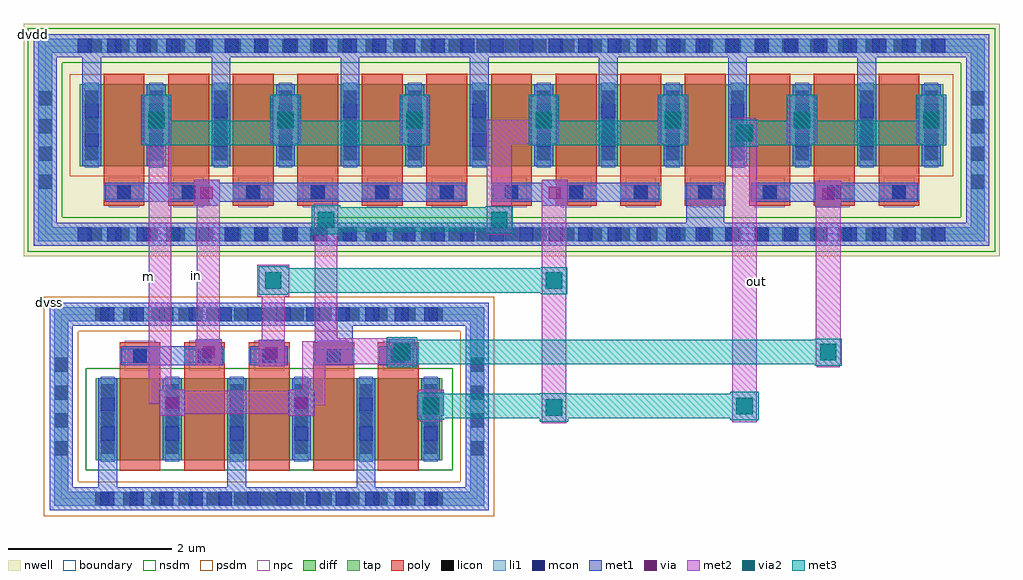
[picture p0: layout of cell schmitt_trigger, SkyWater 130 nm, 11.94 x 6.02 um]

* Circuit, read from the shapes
.subckt schmitt_trigger dvdd dvss in m out
XM1 m in dvss dvss sky130_fd_pr__nfet_01v8 w=1 l=0.5 m=2
XM2 m out dvss dvss sky130_fd_pr__nfet_01v8 w=1 l=0.5
XM3 dvss dvss m dvss sky130_fd_pr__nfet_01v8 w=1 l=0.5
XM4 out m dvss dvss sky130_fd_pr__nfet_01v8 w=1 l=0.5
XM5 m in dvdd dvdd sky130_fd_pr__pfet_01v8 w=1 l=0.5 m=6
XM6 m out dvdd dvdd sky130_fd_pr__pfet_01v8 w=1 l=0.5 m=3
XM7 dvdd dvdd m dvdd sky130_fd_pr__pfet_01v8 w=1 l=0.5
XM8 out m dvdd dvdd sky130_fd_pr__pfet_01v8 w=1 l=0.5 m=3
.ends

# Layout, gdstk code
import gdstk
lib = gdstk.Library(unit=1e-6, precision=1e-09)
def R(c, l, rs):  # rectangles x0, y0, x1, y1
    for r in rs: c.add(gdstk.rectangle(r[:2], r[2:], *l))
def A(c, l, x, y, w, h, nx, ny, dx, dy):  # array of equal rectangles
    R(c, l, [(x+i*dx, y+j*dy, x+i*dx+w, y+j*dy+h) for i in range(nx) for j in range(ny)])
nwell = (64, 20)
diff = (65, 20)
tap = (65, 44)
poly = (66, 20)
licon = (66, 44)
li1 = (67, 20)
mcon = (67, 44)
met1 = (68, 20)
via = (68, 44)
met2 = (69, 20)
via2 = (69, 44)
met3 = (70, 20)
nsdm = (93, 44)
psdm = (94, 20)
npc = (95, 20)
boundary = (235, 4)

sky130_fd_pr__pfet_01v8_ = lib.new_cell('sky130_fd_pr__pfet_01v8_BZXTE7')
R(sky130_fd_pr__pfet_01v8_, nwell, [(-5.97,-1.42,5.97,1.42)])
R(sky130_fd_pr__pfet_01v8_, diff, [(-5.28,-0.32,5.28,0.68)])
R(sky130_fd_pr__pfet_01v8_, tap, [(-5.79,-1.24,5.79,-1.07), (-5.79,-1.07,-5.62,1.07), (5.62,-1.07,5.79,1.07), (-5.79,1.07,5.79,1.24)])
A(sky130_fd_pr__pfet_01v8_, poly, -4.99, -0.805, 0.5, 1.615, 13, 1, 0.79, 0)
A(sky130_fd_pr__pfet_01v8_, licon, -5.185, -1.24, 0.17, 0.17, 31, 2, 0.34, 2.31)
A(sky130_fd_pr__pfet_01v8_, licon, -4.825, -0.725, 0.17, 0.17, 13, 1, 0.79, 0)
A(sky130_fd_pr__pfet_01v8_, licon, -5.79, -0.595, 0.17, 0.17, 1, 4, 0, 0.34)
A(sky130_fd_pr__pfet_01v8_, licon, 5.62, -0.595, 0.17, 0.17, 1, 4, 0, 0.34)
A(sky130_fd_pr__pfet_01v8_, licon, -5.22, -0.245, 0.17, 0.17, 14, 3, 0.79, 0.34)
A(sky130_fd_pr__pfet_01v8_, li1, -4.99, -0.725, 0.5, 0.17, 13, 1, 0.79, 0)
A(sky130_fd_pr__pfet_01v8_, li1, -5.22, -0.34, 0.17, 1.04, 14, 1, 0.79, 0)
R(sky130_fd_pr__pfet_01v8_, li1, [(-5.79,-1.24,5.79,-1.07), (-5.79,-1.07,-5.62,1.07), (5.62,-1.07,5.79,1.07), (-5.79,1.07,5.79,1.24)])
A(sky130_fd_pr__pfet_01v8_, mcon, -4.825, -0.725, 0.17, 0.17, 13, 1, 0.79, 0)
A(sky130_fd_pr__pfet_01v8_, mcon, -5.22, -0.085, 0.17, 0.17, 14, 2, 0.79, 0.36)
A(sky130_fd_pr__pfet_01v8_, met1, -4.97, -0.755, 0.46, 0.23, 13, 1, 0.79, 0)
A(sky130_fd_pr__pfet_01v8_, met1, -5.25, -0.32, 0.23, 1, 14, 1, 0.79, 0)
R(sky130_fd_pr__pfet_01v8_, nsdm, [(-5.915,-1.365,5.915,-0.945), (-5.915,-0.945,-5.495,0.945), (5.495,-0.945,5.915,0.945), (-5.915,0.945,5.915,1.365)])
R(sky130_fd_pr__pfet_01v8_, psdm, [(-5.405,-0.445,5.405,0.805)])
A(sky130_fd_pr__pfet_01v8_, npc, -4.925, -0.825, 0.37, 0.37, 13, 1, 0.79, 0)
R(sky130_fd_pr__pfet_01v8_, boundary, [(-5.705,-1.155,5.705,1.155)])

sky130_fd_pr__nfet_01v8_ = lib.new_cell('sky130_fd_pr__nfet_01v8_SCV3UK')
R(sky130_fd_pr__nfet_01v8_, diff, [(-2.12,-0.655,2.12,0.345)])
R(sky130_fd_pr__nfet_01v8_, tap, [(-2.63,-1.215,2.63,-1.045), (-2.63,-1.045,-2.46,1.045), (2.46,-1.045,2.63,1.045), (-2.63,1.045,2.63,1.215)])
A(sky130_fd_pr__nfet_01v8_, poly, -1.83, -0.785, 0.5, 1.57, 5, 1, 0.79, 0)
A(sky130_fd_pr__nfet_01v8_, licon, -2.125, -1.215, 0.17, 0.17, 13, 2, 0.34, 2.26)
A(sky130_fd_pr__nfet_01v8_, licon, -2.63, -0.595, 0.17, 0.17, 1, 4, 0, 0.34)
A(sky130_fd_pr__nfet_01v8_, licon, 2.46, -0.595, 0.17, 0.17, 1, 4, 0, 0.34)
A(sky130_fd_pr__nfet_01v8_, licon, -2.06, -0.58, 0.17, 0.17, 6, 3, 0.79, 0.34)
A(sky130_fd_pr__nfet_01v8_, licon, -1.665, 0.535, 0.17, 0.17, 5, 1, 0.79, 0)
A(sky130_fd_pr__nfet_01v8_, li1, -2.06, -0.675, 0.17, 1.04, 6, 1, 0.79, 0)
A(sky130_fd_pr__nfet_01v8_, li1, -1.83, 0.535, 0.5, 0.17, 5, 1, 0.79, 0)
R(sky130_fd_pr__nfet_01v8_, li1, [(-2.63,-1.215,2.63,-1.045), (-2.63,-1.045,-2.46,1.045), (2.46,-1.045,2.63,1.045), (-2.63,1.045,2.63,1.215)])
A(sky130_fd_pr__nfet_01v8_, mcon, -2.06, -0.42, 0.17, 0.17, 6, 2, 0.79, 0.36)
A(sky130_fd_pr__nfet_01v8_, mcon, -1.665, 0.535, 0.17, 0.17, 5, 1, 0.79, 0)
A(sky130_fd_pr__nfet_01v8_, met1, -2.09, -0.655, 0.23, 1, 6, 1, 0.79, 0)
A(sky130_fd_pr__nfet_01v8_, met1, -1.81, 0.505, 0.46, 0.23, 5, 1, 0.79, 0)
R(sky130_fd_pr__nfet_01v8_, nsdm, [(-2.245,-0.78,2.245,0.47)])
R(sky130_fd_pr__nfet_01v8_, psdm, [(-2.755,-1.34,2.755,-0.92), (-2.755,-0.92,-2.335,0.92), (2.335,-0.92,2.755,0.92), (-2.755,0.92,2.755,1.34)])
A(sky130_fd_pr__nfet_01v8_, npc, -1.765, 0.435, 0.37, 0.37, 5, 1, 0.79, 0)
R(sky130_fd_pr__nfet_01v8_, boundary, [(-2.545,-1.13,2.545,1.13)])

schmitt_trigger = lib.new_cell('schmitt_trigger')
R(schmitt_trigger, nwell, [(0.265,5.075,0.495,5.41)])
R(schmitt_trigger, li1, [(0.4,-0.08,4.7,0.09), (0.4,2.18,4.7,2.35), (0.205,3.155,10.825,3.325), (0.205,5.465,10.825,5.635)])
A(schmitt_trigger, mcon, 0.485, -0.08, 0.17, 0.17, 12, 2, 0.36, 2.26)
A(schmitt_trigger, mcon, 0.21, 3.155, 0.17, 0.17, 30, 2, 0.36, 2.31)
A(schmitt_trigger, met1, 0.46, 0.145, 0.23, 0.335, 3, 1, 1.58, 0)
A(schmitt_trigger, met1, 1.205, 1.02, 0.32, 0.32, 3, 1, 1.58, 0)
A(schmitt_trigger, met1, 1.01, 4.35, 0.32, 0.58, 7, 1, 1.58, 0)
A(schmitt_trigger, met1, 0.265, 5.075, 0.23, 0.335, 7, 1, 1.58, 0)
R(schmitt_trigger, met1, [(-0.135,-0.135,5.235,0.145), (-0.135,0.145,0.145,2.125), (4.955,0.145,5.235,2.125), (2.42,1.63,2.74,1.95), (1.2,1.64,1.53,1.87), (1.65,1.64,1.97,1.96), (4.015,1.64,4.335,1.96), (3.11,1.87,3.57,2.125), (-0.135,2.125,5.235,2.405), (-0.33,3.1,11.36,3.38), (-0.33,3.38,-0.05,5.41), (7.655,3.38,8.115,3.64), (11.08,3.38,11.36,5.41), (9.23,3.575,9.55,3.64), (1.625,3.59,1.945,3.64), (5.885,3.59,6.205,3.64), (1.005,3.64,4.495,3.87), (5.745,3.64,6.865,3.87), (8.905,3.64,10.025,3.87), (1.625,3.87,1.945,3.91), (5.885,3.87,6.205,3.91), (9.23,3.87,9.55,3.895), (-0.33,5.41,11.36,5.69)])
A(schmitt_trigger, via, 1.29, 1.105, 0.15, 0.15, 3, 1, 1.58, 0)
A(schmitt_trigger, via, 1.095, 4.565, 0.15, 0.15, 7, 1, 1.58, 0)
R(schmitt_trigger, via, [(2.505,1.715,2.655,1.865), (1.735,1.725,1.885,1.875), (4.1,1.725,4.25,1.875), (9.315,3.66,9.465,3.81), (1.71,3.675,1.86,3.825), (5.97,3.675,6.12,3.825)])
A(schmitt_trigger, met2, 0.985, 4.33, 0.37, 0.62, 3, 1, 1.58, 0)
A(schmitt_trigger, met2, 7.305, 4.33, 0.37, 0.62, 3, 1, 1.58, 0)
R(schmitt_trigger, met2, [(5.885,0.93,6.185,3.59), (8.215,0.945,8.515,4.63), (4.39,0.955,4.67,1.02), (1.205,1.02,1.525,1.045), (2.785,1.02,3.105,1.045), (4.365,1.02,4.685,1.34), (1.205,1.045,3.105,1.15), (1.205,1.15,3.235,1.17), (1.075,1.17,3.235,1.325), (1.075,1.325,1.525,1.34), (2.785,1.325,3.235,1.34), (1.075,1.34,1.355,4.33), (2.955,1.34,3.235,1.655), (3.99,1.615,4.36,1.655), (9.25,1.615,9.53,1.65), (2.42,1.63,2.74,1.95), (1.65,1.64,1.97,1.96), (9.24,1.65,9.54,3.575), (2.955,1.655,4.36,1.935), (3.105,1.935,4.36,1.97), (2.46,1.95,2.74,2.48), (1.665,1.96,1.945,3.59), (3.105,1.97,3.385,3.225), (3.99,1.97,4.36,1.985), (2.405,2.48,2.795,2.87), (3.095,3.225,3.395,3.615), (5.225,3.235,5.505,3.27), (5.215,3.27,5.515,4.345), (9.23,3.575,9.55,3.895), (1.625,3.59,1.945,3.91), (5.885,3.59,6.205,3.91), (5.725,4.33,6.095,4.345), (5.215,4.345,6.095,4.645), (8.225,4.63,8.505,4.665), (5.725,4.645,6.095,4.95)])
A(schmitt_trigger, via2, 1.07, 4.54, 0.2, 0.2, 7, 1, 1.58, 0)
R(schmitt_trigger, via2, [(5.935,1.025,6.135,1.225), (4.43,1.04,4.63,1.24), (8.265,1.04,8.465,1.24), (4.075,1.7,4.275,1.9), (9.29,1.7,9.49,1.9), (2.5,2.575,2.7,2.775), (5.935,2.575,6.135,2.775), (3.145,3.32,3.345,3.52), (5.265,3.32,5.465,3.52), (8.265,4.38,8.465,4.58)])
A(schmitt_trigger, met3, 0.985, 4.63, 0.37, 0.32, 7, 1, 1.58, 0)
R(schmitt_trigger, met3, [(5.86,0.95,6.21,0.99), (8.19,0.965,8.54,0.99), (4.365,0.975,4.695,0.99), (4.365,0.99,8.54,1.29), (4.365,1.29,4.695,1.305), (5.86,1.29,6.21,1.3), (8.19,1.29,8.54,1.315), (3.99,1.615,4.36,1.65), (9.225,1.635,9.555,1.65), (3.99,1.65,9.555,1.95), (3.99,1.95,4.36,1.985), (9.225,1.95,9.555,1.965), (2.425,2.5,2.775,2.525), (5.87,2.51,6.2,2.525), (2.425,2.525,6.2,2.825), (2.425,2.825,2.775,2.85), (5.87,2.825,6.2,2.84), (3.07,3.245,3.42,3.27), (5.2,3.255,5.53,3.27), (3.07,3.27,5.53,3.57), (3.07,3.57,3.42,3.595), (5.2,3.57,5.53,3.585), (8.2,4.315,8.53,4.33), (0.985,4.33,4.515,4.63), (5.725,4.33,7.675,4.63), (8.2,4.33,10.835,4.63), (8.2,4.63,8.53,4.645)])
schmitt_trigger.add(gdstk.Reference(sky130_fd_pr__pfet_01v8_, (5.515,4.395)))
schmitt_trigger.add(gdstk.Reference(sky130_fd_pr__nfet_01v8_, (2.55,1.135)))
schmitt_trigger.add(gdstk.Label('m', (1.075,2.73), layer=69, texttype=5))
schmitt_trigger.add(gdstk.Label('dvdd', (-0.33,5.69), layer=68, texttype=5))
schmitt_trigger.add(gdstk.Label('in', (1.665,2.74), layer=69, texttype=5))
schmitt_trigger.add(gdstk.Label('out', (8.515,2.67), layer=69, texttype=5))
schmitt_trigger.add(gdstk.Label('dvss', (-0.135,2.405), layer=68, texttype=5))

lib.write_gds('schmitt_trigger.gds')
